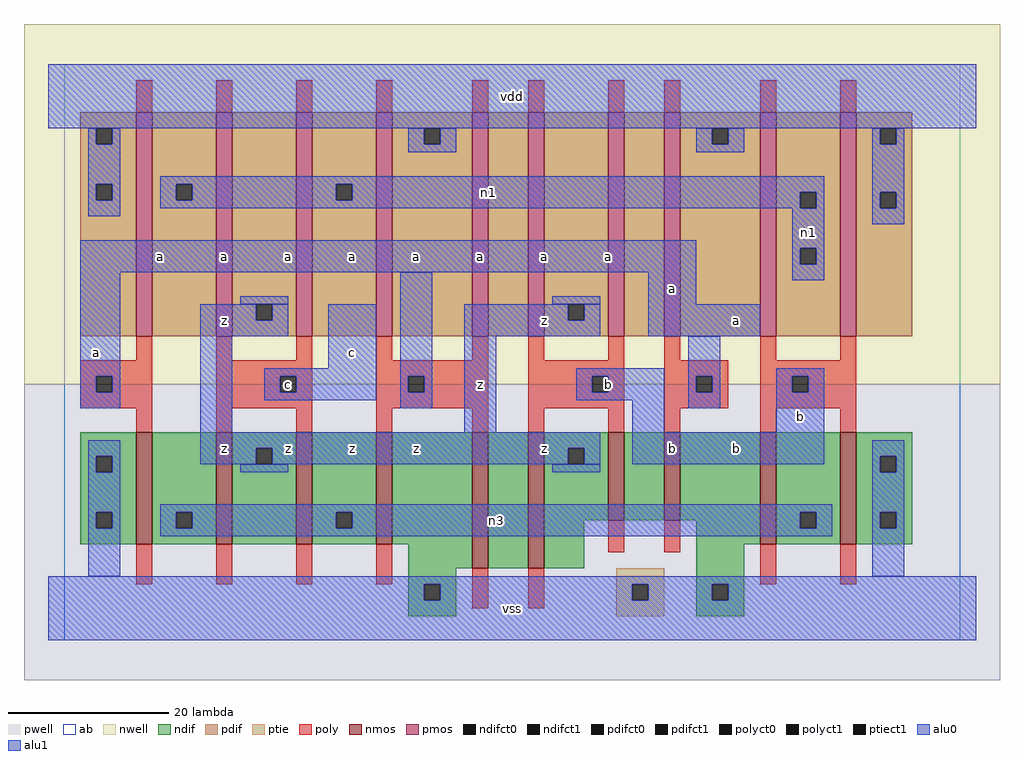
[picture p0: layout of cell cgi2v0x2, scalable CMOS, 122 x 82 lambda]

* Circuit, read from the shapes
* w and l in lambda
.subckt cgi2v0x2 a b c n1 n3 vdd vss z
M1 n3 a vss vss nfet w=14 l=2 m=2
M2 z c n3 vss nfet w=14 l=2 m=2
M3 n2 a vss vss nfet w=17 l=2
M4 z b n2 vss nfet w=17 l=2
M5 n4 b z vss nfet w=11 l=2
M6 vss a n4 vss nfet w=11 l=2
M7 n3 b vss vss nfet w=14 l=2 m=2
M8 n1 a vdd n5 pfet w=28 l=2 m=2
M9 z c n1 n5 pfet w=28 l=2 m=2
M10 n6 a vdd n5 pfet w=28 l=2
M11 z b n6 n5 pfet w=28 l=2
M12 n7 b z n5 pfet w=28 l=2
M13 vdd a n7 n5 pfet w=28 l=2
M14 n1 b vdd n5 pfet w=28 l=2 m=2
.ends

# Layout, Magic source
magic
tech scmos
<< ab >>
rect 0 0 112 72
<< nwell >>
rect -5 32 117 77
<< pwell >>
rect -5 -5 117 32
<< poly >>
rect 9 66 11 70
rect 19 66 21 70
rect 29 66 31 70
rect 39 66 41 70
rect 51 66 53 70
rect 58 66 60 70
rect 68 66 70 70
rect 75 66 77 70
rect 87 66 89 70
rect 97 66 99 70
rect 9 35 11 38
rect 2 33 11 35
rect 2 31 4 33
rect 6 31 11 33
rect 2 29 11 31
rect 9 26 11 29
rect 19 35 21 38
rect 29 35 31 38
rect 19 33 31 35
rect 19 31 27 33
rect 29 31 31 33
rect 19 29 31 31
rect 19 26 21 29
rect 29 26 31 29
rect 39 35 41 38
rect 51 35 53 38
rect 39 33 53 35
rect 39 31 43 33
rect 45 31 53 33
rect 39 29 53 31
rect 39 26 41 29
rect 51 26 53 29
rect 58 35 60 38
rect 68 35 70 38
rect 58 33 70 35
rect 58 31 66 33
rect 68 31 70 33
rect 58 29 70 31
rect 58 26 60 29
rect 68 26 70 29
rect 75 35 77 38
rect 87 35 89 38
rect 97 35 99 38
rect 75 33 83 35
rect 75 31 79 33
rect 81 31 83 33
rect 75 29 83 31
rect 87 33 99 35
rect 87 31 91 33
rect 93 31 99 33
rect 87 29 99 31
rect 75 26 77 29
rect 87 26 89 29
rect 97 26 99 29
rect 9 7 11 12
rect 19 7 21 12
rect 29 7 31 12
rect 39 7 41 12
rect 68 11 70 15
rect 75 11 77 15
rect 51 4 53 9
rect 58 4 60 9
rect 87 7 89 12
rect 97 7 99 12
<< ndif >>
rect 2 23 9 26
rect 2 21 4 23
rect 6 21 9 23
rect 2 16 9 21
rect 2 14 4 16
rect 6 14 9 16
rect 2 12 9 14
rect 11 16 19 26
rect 11 14 14 16
rect 16 14 19 16
rect 11 12 19 14
rect 21 24 29 26
rect 21 22 24 24
rect 26 22 29 24
rect 21 12 29 22
rect 31 16 39 26
rect 31 14 34 16
rect 36 14 39 16
rect 31 12 39 14
rect 41 12 51 26
rect 43 9 51 12
rect 53 9 58 26
rect 60 24 68 26
rect 60 22 63 24
rect 65 22 68 24
rect 60 15 68 22
rect 70 15 75 26
rect 77 15 87 26
rect 60 9 65 15
rect 79 12 87 15
rect 89 16 97 26
rect 89 14 92 16
rect 94 14 97 16
rect 89 12 97 14
rect 99 23 106 26
rect 99 21 102 23
rect 104 21 106 23
rect 99 16 106 21
rect 99 14 102 16
rect 104 14 106 16
rect 99 12 106 14
rect 43 7 49 9
rect 43 5 45 7
rect 47 5 49 7
rect 43 3 49 5
rect 79 7 85 12
rect 79 5 81 7
rect 83 5 85 7
rect 79 3 85 5
<< pdif >>
rect 2 64 9 66
rect 2 62 4 64
rect 6 62 9 64
rect 2 57 9 62
rect 2 55 4 57
rect 6 55 9 57
rect 2 38 9 55
rect 11 57 19 66
rect 11 55 14 57
rect 16 55 19 57
rect 11 38 19 55
rect 21 42 29 66
rect 21 40 24 42
rect 26 40 29 42
rect 21 38 29 40
rect 31 57 39 66
rect 31 55 34 57
rect 36 55 39 57
rect 31 38 39 55
rect 41 64 51 66
rect 41 62 45 64
rect 47 62 51 64
rect 41 38 51 62
rect 53 38 58 66
rect 60 42 68 66
rect 60 40 63 42
rect 65 40 68 42
rect 60 38 68 40
rect 70 38 75 66
rect 77 64 87 66
rect 77 62 81 64
rect 83 62 87 64
rect 77 38 87 62
rect 89 56 97 66
rect 89 54 92 56
rect 94 54 97 56
rect 89 49 97 54
rect 89 47 92 49
rect 94 47 97 49
rect 89 38 97 47
rect 99 64 106 66
rect 99 62 102 64
rect 104 62 106 64
rect 99 56 106 62
rect 99 54 102 56
rect 104 54 106 56
rect 99 38 106 54
<< alu1 >>
rect -2 64 114 72
rect 2 46 79 50
rect 2 33 7 46
rect 2 31 4 33
rect 6 31 7 33
rect 2 29 7 31
rect 17 40 24 42
rect 26 40 28 42
rect 17 38 28 40
rect 17 26 21 38
rect 33 34 39 42
rect 25 33 39 34
rect 25 31 27 33
rect 29 31 39 33
rect 25 30 39 31
rect 50 40 63 42
rect 65 40 67 42
rect 50 38 67 40
rect 73 42 79 46
rect 73 38 87 42
rect 50 26 54 38
rect 64 33 75 34
rect 64 31 66 33
rect 68 31 75 33
rect 64 30 75 31
rect 71 26 75 30
rect 89 33 95 34
rect 89 31 91 33
rect 93 31 95 33
rect 89 26 95 31
rect 17 24 67 26
rect 17 22 24 24
rect 26 22 63 24
rect 65 22 67 24
rect 71 22 95 26
rect -2 7 114 8
rect -2 5 45 7
rect 47 5 71 7
rect 73 5 81 7
rect 83 5 114 7
rect -2 0 114 5
<< ptie >>
rect 69 7 75 9
rect 69 5 71 7
rect 73 5 75 7
rect 69 3 75 5
<< nmos >>
rect 9 12 11 26
rect 19 12 21 26
rect 29 12 31 26
rect 39 12 41 26
rect 51 9 53 26
rect 58 9 60 26
rect 68 15 70 26
rect 75 15 77 26
rect 87 12 89 26
rect 97 12 99 26
<< pmos >>
rect 9 38 11 66
rect 19 38 21 66
rect 29 38 31 66
rect 39 38 41 66
rect 51 38 53 66
rect 58 38 60 66
rect 68 38 70 66
rect 75 38 77 66
rect 87 38 89 66
rect 97 38 99 66
<< polyct0 >>
rect 43 31 45 33
rect 79 31 81 33
<< polyct1 >>
rect 4 31 6 33
rect 27 31 29 33
rect 66 31 68 33
rect 91 31 93 33
<< ndifct0 >>
rect 4 21 6 23
rect 4 14 6 16
rect 14 14 16 16
rect 34 14 36 16
rect 92 14 94 16
rect 102 21 104 23
rect 102 14 104 16
<< ndifct1 >>
rect 24 22 26 24
rect 63 22 65 24
rect 45 5 47 7
rect 81 5 83 7
<< ptiect1 >>
rect 71 5 73 7
<< pdifct0 >>
rect 4 62 6 64
rect 4 55 6 57
rect 14 55 16 57
rect 34 55 36 57
rect 45 62 47 64
rect 81 62 83 64
rect 92 54 94 56
rect 92 47 94 49
rect 102 62 104 64
rect 102 54 104 56
<< pdifct1 >>
rect 24 40 26 42
rect 63 40 65 42
<< alu0 >>
rect 3 62 4 64
rect 6 62 7 64
rect 3 57 7 62
rect 43 62 45 64
rect 47 62 49 64
rect 43 61 49 62
rect 79 62 81 64
rect 83 62 85 64
rect 79 61 85 62
rect 101 62 102 64
rect 104 62 105 64
rect 3 55 4 57
rect 6 55 7 57
rect 3 53 7 55
rect 12 57 95 58
rect 12 55 14 57
rect 16 55 34 57
rect 36 56 95 57
rect 36 55 92 56
rect 12 54 92 55
rect 94 54 95 56
rect 22 42 28 43
rect 42 33 46 46
rect 61 42 67 43
rect 42 31 43 33
rect 45 31 46 33
rect 42 29 46 31
rect 91 49 95 54
rect 101 56 105 62
rect 101 54 102 56
rect 104 54 105 56
rect 101 52 105 54
rect 91 47 92 49
rect 94 47 95 49
rect 91 45 95 47
rect 78 33 82 38
rect 78 31 79 33
rect 81 31 82 33
rect 78 29 82 31
rect 3 23 7 25
rect 3 21 4 23
rect 6 21 7 23
rect 101 23 105 25
rect 22 21 28 22
rect 61 21 67 22
rect 101 21 102 23
rect 104 21 105 23
rect 3 16 7 21
rect 3 14 4 16
rect 6 14 7 16
rect 3 8 7 14
rect 12 16 96 17
rect 12 14 14 16
rect 16 14 34 16
rect 36 14 92 16
rect 94 14 96 16
rect 12 13 96 14
rect 101 16 105 21
rect 101 14 102 16
rect 104 14 105 16
rect 101 8 105 14
<< labels >>
rlabel alu0 54 15 54 15 6 n3
rlabel alu0 93 51 93 51 6 n1
rlabel alu0 53 56 53 56 6 n1
rlabel alu1 4 36 4 36 6 a
rlabel alu1 12 48 12 48 6 a
rlabel alu1 20 24 20 24 6 z
rlabel alu1 36 24 36 24 6 z
rlabel alu1 28 24 28 24 6 z
rlabel polyct1 28 32 28 32 6 c
rlabel alu1 20 40 20 40 6 z
rlabel alu1 36 36 36 36 6 c
rlabel alu1 20 48 20 48 6 a
rlabel alu1 36 48 36 48 6 a
rlabel alu1 28 48 28 48 6 a
rlabel alu1 56 4 56 4 6 vss
rlabel alu1 44 24 44 24 6 z
rlabel alu1 60 24 60 24 6 z
rlabel alu1 52 32 52 32 6 z
rlabel alu1 60 40 60 40 6 z
rlabel alu1 44 48 44 48 6 a
rlabel alu1 60 48 60 48 6 a
rlabel alu1 52 48 52 48 6 a
rlabel alu1 56 68 56 68 6 vdd
rlabel alu1 84 24 84 24 6 b
rlabel alu1 76 24 76 24 6 b
rlabel alu1 68 32 68 32 6 b
rlabel alu1 84 40 84 40 6 a
rlabel alu1 76 44 76 44 6 a
rlabel alu1 68 48 68 48 6 a
rlabel alu1 92 28 92 28 6 b
<< end >>
